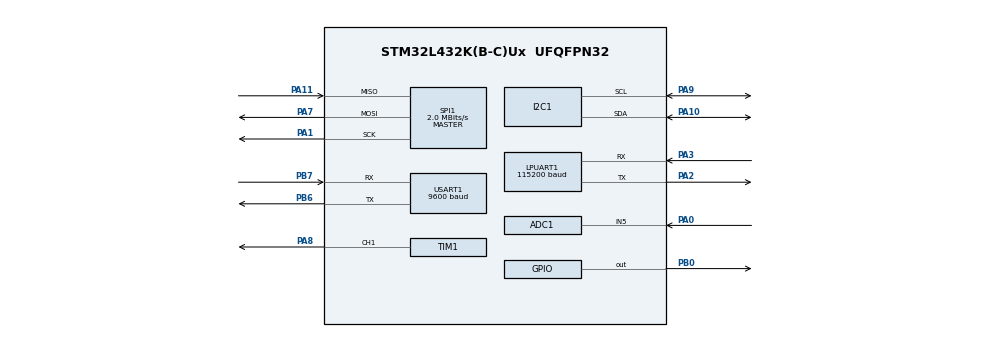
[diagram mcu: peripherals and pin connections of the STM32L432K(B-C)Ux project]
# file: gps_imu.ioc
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ADC1.Channel-0\#ChannelRegularConversion=ADC_CHANNEL_5
ADC1.ClockPrescaler=ADC_CLOCK_ASYNC_DIV1
ADC1.NbrOfConversionFlag=1
ADC1.OffsetNumber-0\#ChannelRegularConversion=ADC_OFFSET_NONE
ADC1.Rank-0\#ChannelRegularConversion=1
ADC1.SamplingTime-0\#ChannelRegularConversion=ADC_SAMPLETIME_640CYCLES_5
ADC1.master=1
LPUART1.BaudRate=115200
LPUART1.WordLength=UART_WORDLENGTH_8B
Mcu.Family=STM32L4
Mcu.Name=STM32L432K(B-C)Ux
Mcu.Package=UFQFPN32
NVIC.PriorityGroup=NVIC_PRIORITYGROUP_4
NVIC.TIM6_DAC_IRQn=true\:1\:0\:true\:false\:true\:true\:true\:true
NVIC.TIM7_IRQn=true\:0\:0\:false\:false\:true\:true\:true\:true
NVIC.USART1_IRQn=true\:0\:0\:false\:false\:true\:true\:true\:true
PA0.Signal=ADCx_IN5
PA1.Mode=Full_Duplex_Master
PA1.Signal=SPI1_SCK
PA10.Mode=I2C
PA10.Signal=I2C1_SDA
PA11.Mode=Full_Duplex_Master
PA11.Signal=SPI1_MISO
PA2.Mode=Asynchronous
PA2.Signal=LPUART1_TX
PA3.Mode=Asynchronous
PA3.Signal=LPUART1_RX
PA7.Mode=Full_Duplex_Master
PA7.Signal=SPI1_MOSI
PA8.Signal=S_TIM1_CH1
PA9.Mode=I2C
PA9.Signal=I2C1_SCL
PB0.Signal=GPIO_Output
PB6.Mode=Asynchronous
PB6.Signal=USART1_TX
PB7.Mode=Asynchronous
PB7.Signal=USART1_RX
ProjectManager.HeapSize=0x200
ProjectManager.StackSize=0x400
ProjectManager.TargetToolchain=STM32CubeIDE
RCC.ADCFreq_Value=32000000
RCC.HSE_VALUE=8000000
RCC.HSI48_VALUE=48000000
RCC.HSI_VALUE=16000000
RCC.LSE_VALUE=32768
RCC.MSI_VALUE=4000000
RCC.PLLSAI1N=16
RCC.USBFreq_Value=32000000
RCC.VCOOutputFreq_Value=32000000
SH.ADCx_IN5.0=ADC1_IN5,IN5-Single-Ended
SH.S_TIM1_CH1.0=TIM1_CH1,PWM Generation1 CH1
SPI1.BaudRatePrescaler=SPI_BAUDRATEPRESCALER_2
SPI1.CalculateBaudRate=2.0 MBits/s
SPI1.DataSize=SPI_DATASIZE_8BIT
SPI1.Direction=SPI_DIRECTION_2LINES
SPI1.Mode=SPI_MODE_MASTER
SPI1.VirtualType=VM_MASTER
TIM1.Channel-PWM\ Generation1\ CH1=TIM_CHANNEL_1
TIM1.Prescaler=0
TIM6.Period=499
TIM6.Prescaler=39
TIM7.Period=50000
TIM7.Prescaler=399
USART1.BaudRate=9600
USART1.VirtualMode-Asynchronous=VM_ASYNC
VP_TIM1_VS_ClockSourceINT.Mode=Internal
VP_TIM6_VS_ClockSourceINT.Mode=Enable_Timer
VP_TIM7_VS_ClockSourceINT.Mode=Enable_Timer
board=custom

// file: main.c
/* USER CODE BEGIN Header */
/**
  ******************************************************************************
  * @file           : main.c
  * @brief          : Main program body
  ******************************************************************************
  * @attention
  *
  * Copyright (c) 2024 STMicroelectronics.
  * All rights reserved.
  *
  * This software is licensed under terms that can be found in the LICENSE file
  * in the root directory of this software component.
  * If no LICENSE file comes with this software, it is provided AS-IS.
  *
  ******************************************************************************
  */
/* USER CODE END Header */
#include "main.h"

/* USER CODE BEGIN Includes */
#include "stdio.h"
#include "stdio.h"
#include "math.h"
#include "kalman.h"
#include "gps.h"
#include "string.h"
#include "stdlib.h"
#include "PulseSensor.h"
#include "lora_sx1276.h"
/* USER CODE END Includes */

ADC_HandleTypeDef hadc1;

I2C_HandleTypeDef hi2c1;

UART_HandleTypeDef hlpuart1;
UART_HandleTypeDef huart1;

SPI_HandleTypeDef hspi1;

TIM_HandleTypeDef htim1;
TIM_HandleTypeDef htim6;
TIM_HandleTypeDef htim7;

void SystemClock_Config(void);
static void MX_GPIO_Init(void);
static void MX_I2C1_Init(void);
static void MX_LPUART1_UART_Init(void);
static void MX_USART1_UART_Init(void);
static void MX_TIM6_Init(void);
static void MX_TIM7_Init(void);
static void MX_TIM1_Init(void);
static void MX_ADC1_Init(void);
static void MX_SPI1_Init(void);

/* USER CODE BEGIN 0 */
#define PI 3.14159265358979323846
uint8_t a[10] = {0};
struct Kalman kx;
struct Kalman ky;
struct Kalman kz;
double inst_velx = 0;
double inst_vely = 0;
double inst_velz = 0;
double x, y, z;

int imu_timer = 0;
int gps_timer = 0;
int pulse_timer = 0;

void HAL_UART_RxCpltCallback(UART_HandleTypeDef *huart)
{
	//gps_timer = 1;
//	if(a[0] == 10){
//		printf("\n");
//	}
//	else
//		printf("%c", a[0]);
	//HAL_UART_Receive_IT(&huart1, a, 1);

}

void HAL_TIM_PeriodElapsedCallback(TIM_HandleTypeDef* htim){
	if(htim == &htim7){
		gps_timer = 1;
//		int counter = 0;
//		while(1){
//
//			HAL_UART_Receive(&huart1, a, 1, 1);
//			if(a[0] == '$'){
//				printf("%c", a[0]);
//				while (a[0] != 10){
//					HAL_UART_Receive(&huart1, a, 1, 100);
//					printf("%c", a[0]);
//				}
//				counter++;
//			}
//			if(counter == 6){
//				printf("\n");
//				break;
//			}
//		}
	}
	else if (htim == &htim6){
		//do imu
//		x = (double)x_lin_acc_raw(&hi2c1)/20000;
//		y = (double)y_lin_acc_raw(&hi2c1)/100;
//		z = (double)z_lin_acc_raw(&hi2c1)/100;
		imu_timer = 1;
		pulse_timer = 1;

	}

	//HAL_UART_Receive_IT(&huart1, a, 1);
	//HAL_UART_Receive(&huart1, a, 1, 1000);
	//
	//	  printf("%c\n", a[0]);
}
/* USER CODE END 0 */

int main(void)
{

  /* MCU Configuration--------------------------------------------------------*/

  /* Reset of all peripherals, Initializes the Flash interface and the Systick. */
  HAL_Init();

  /* Configure the system clock */
  SystemClock_Config();

  /* Initialize all configured peripherals */
  MX_GPIO_Init();
  MX_I2C1_Init();
  MX_LPUART1_UART_Init();
  MX_USART1_UART_Init();
  MX_TIM6_Init();
  MX_TIM7_Init();
  MX_TIM1_Init();
  MX_ADC1_Init();
  MX_SPI1_Init();
  /* USER CODE BEGIN 2 */

  init_IMU(&hi2c1);
  initPulseSensor(&hadc1);

  /* USER CODE END 2 */

  /* Infinite loop */
  /* USER CODE BEGIN WHILE */
  //HAL_TIM_Base_Start_IT(&htim7);
  HAL_TIM_Base_Start_IT(&htim6);
  //HAL_UART_Receive_IT(&huart1, a, 1);
  HAL_TIM_PWM_Start(&htim1, TIM_CHANNEL_1);

	//double x, y, z, a, b, c;
	double vector; //acc vector
	double velocity;//vel vector
//	double inst_velx = 0;
//	double inst_vely = 0;
//	double inst_velz = 0;

	kx._current_estimate = 0;
	kx._last_estimate = 0;
	kx._kalman_gain = 0;
	ky._current_estimate = 0;
	ky._last_estimate = 0;
	ky._kalman_gain = 0;
	kz._current_estimate = 0;
	kz._last_estimate = 0;
	kz._kalman_gain = 0;

	kx._err_estimate = .1;
	kx._err_measure = .1;
	kx._q = .01;
	ky._err_estimate = .1;
	ky._err_measure = .1;
	ky._q = .01;
	kz._err_estimate = .1;
	kz._err_measure = .1;
	kz._q = .01;
//	SimpleKalmanFilter(.1, .1, 5, kx);
//	SimpleKalmanFilter(.1, .1, .1, ky);
//	SimpleKalmanFilter(.1, .1, .1, kz);

	//int counter = 0;
	double updatex = 0;
	double updatey = 0;
	double updatez = 0;
	uint8_t gps_buf[128];
	uint8_t gps_idx = 0;
	GPS_t GPS2;
	GPS2.nmea_latitude = 0;
	GPS2.nmea_longitude = 0;
	GPS2.speed_k = 0;
	GPS2.utc_time = 0;
	double p2p_dist = 0;
	double total_dist = 0;
	double x_cord = 0;
	double y_cord = 0;
	char temp[7];
	int fake_velocity = 0;
	int bpm = 0;
	int imu_ctr = 0;// 1000 means 5s and then reset vel;
	lora_sx1276 lora;

	uint8_t res = lora_init(&lora, &hspi1, GPIOB, GPIO_PIN_0, LORA_BASE_FREQUENCY_US+FREQ_OFFSET);
	if (res != LORA_OK) {
		printf("epic fail!");
		// Initialization failed
	 }
  while (1)
  {
	  ////////////////////////////////
	  //							//
	  // begin vibration simulation //
	  //							//
	  ////////////////////////////////
	  switch(fake_velocity){
	  	  case 0: {
			  TIM1->CCR1 = 0;//0
			  break;
		  }
	  	  case 1: {
	  		  TIM1->CCR1 = 16384;//25
	  		  break;
	  	  }
	  	  case 2: {
	  		  TIM1->CCR1 = 32768;//50
	  		  break;
	  	  }
	  	  case 3: {
	  		  TIM1->CCR1 = 49152;//75
	  		  break;
	  	  }
	  	  default: {
	  		  TIM1->CCR1 = 0;//off?
	  	  }
	  }
	  ////////////////////////////////
	  //							//
	  // end vibration simulation   //
	  //							//
	  ////////////////////////////////

	  //printf("x:%-10f y:%-10f z:%-10f\r\n", x, y, z);

	  ////////////////////////////////////////////
	  // begin gps data fetch       			//
	  //										//
	  //also does the velocity calc and stuff 	//
	  ////////////////////////////////////////////
	  if (gps_timer){
		  imu_ctr = 1;
		  int counter = 0;
		  int counter2 = 0;
		  while(1){
			  HAL_UART_Receive(&huart1, a, 1, 5000);
			  if(a[0] == '$'){
				  gps_buf[gps_idx++] = a[0];
				  //printf("%c", a[0]);
				  while (a[0] != 10){
					  HAL_UART_Receive(&huart1, a, 1, 5000);
					  gps_buf[gps_idx++] = a[0];
					  //printf("%c", a[0]);
				  }
				  for (int i = 0; i < 7; ++i){
					  temp[i] = gps_buf[i];
				  }
				  temp[6] = '\0';
				  for (int i = 0; i < 128; ++i){
					  //printf("%c", gps_buf[i]);////////
				  }

				  //printf("done\n");
				  counter++;
				  gps_idx = 0;

				  if (!strncmp((char*)temp, "$GPGGA", 6)){
					  char lat[9];
					  char lat_ns;
					  char lon[9];
					  char lon_ew;

					  for (int i = 18; i < 27; i++){
						  lat[i-18] = gps_buf[i];

					  }
					  lat_ns = gps_buf[28];
					  for (int i = 30; i < 40; i++){
						  lon[i-30] = gps_buf[i];
					  }
					  lon_ew = gps_buf[41];
					  for (int i = 0; i < 128; ++i){
						  gps_buf[i] = 0;
					  }
					  GPS2.dec_latitude = GPS_nmea_to_dec(strtof(lat, NULL), lat_ns)*(PI/180);
					  GPS2.dec_longitude = GPS_nmea_to_dec(strtof(lon, NULL), lon_ew)*(PI/180);

				  }
				  else if (!strncmp((char*)temp, "$GPRMC", 6)){
					//sscanf((char*)gps_buf, "$GPRMC,%f,%f,%c,%f,%c,%f,%f,%d", &GPS2.utc_time, &GPS2.nmea_latitude, &GPS2.ns, &GPS2.nmea_longitude, &GPS2.ew, &GPS2.speed_k, &GPS2.course_d, &GPS2.date);
					  GPS2.speed_k++;
				  }
				  for (int i = 0; i < 128; ++i){
					  gps_buf[i] = 0;
				  }
			  }

			  if(counter == 6){

//				  printf("\n");
//				  printf("long: %f, longdec: %f\n\r", GPS2.nmea_latitude, GPS2.dec_longitude);
//				  printf("lat: %f, latdec: %f\n\r", GPS2.nmea_longitude, GPS2.dec_latitude);
//				  printf("speed: %f\n\r", GPS2.speed_k);
//				  printf("date: %f\n\r", GPS2.utc_time);

				  if(counter2 == 1){
					  gps_timer = 0;
					  x_cord = (double)(GPS2.dec_longitude - GPS2.dec_longitude_prev)*
							  (cos(((double)GPS2.dec_longitude+(double)GPS2.dec_longitude_prev)/2));
					  y_cord = (double)(GPS2.dec_latitude - GPS2.dec_latitude_prev);
					  p2p_dist = sqrt(x_cord*x_cord + y_cord*y_cord)*6371000;
					  velocity = p2p_dist/5;// m/s, timer is set for 5 sec
					  //printf("p2p: %f\nmeter/sec: %f\n\r", p2p_dist,velocity);
					  //printf("Minute Per Mile: %f\n\r", .08333/(p2p_dist/1609.3));
					  GPS2.dec_latitude_prev = GPS2.dec_latitude;
					  GPS2.dec_longitude_prev = GPS2.dec_longitude;

					  fake_velocity = (fake_velocity+1)%4;
					  break;
				  }
				  counter2++;
				  counter = 0;

			  }
		  }

	  }
	  ////////////////////////////////
	  //							//
	  // end gps data fetch         //
	  //							//
	  ////////////////////////////////

	  ////////////////////////////////
	  //							//
	  // begin imu stuff	        //
	  //							//
	  ////////////////////////////////
	  if (imu_timer){
		  x = (double)x_lin_acc_raw(&hi2c1)/100;
		  y = (double)y_lin_acc_raw(&hi2c1)/100;
		  z = (double)z_lin_acc_raw(&hi2c1)/100;
		  //20000 is 100 from imu, plus 200 for the time frame
		  //printf("x: %f y: %f, z: %f\n\r", x, y, z);
		  if((x>-.1)&&(x<.1)|(x>50) | (x<-50)){
			  x = 0;
		  }
		  if((y>-.1)&&(y<.1)|(y>50) | (y<-50)){
			  y = 0;
		  }
		  if((z>-.45)&&(z<.45)|(z>50) | (z<-50)){
			  z = 0;
		  }

	//	  updatex += x;
	//	  updatey += y;
	//	  updatez += z;
	//	  if (counter == 100){
	//		  updatex = 0;
	//		  updatey = 0;
	//		  updatez = 0;
	//		  counter = 0;
	//	  }
//		  updatex = updateEstimate(x, kx);//x;
//		  updatey = updateEstimate(y, ky);
//		  updatez = updateEstimate(z, kz);
//
		  updatex = inst_velx;
		  updatey = inst_vely;
		  updatez = inst_velz;
		  inst_velx += x;
		  inst_vely += y;
		  inst_velz += z;

//		  inst_velx = updateEstimate(inst_velx, &kx);
//		  inst_vely = updateEstimate(inst_vely, &ky);
//		  inst_velz = updateEstimate(inst_velz, &kz);
//		  imu_timer = 0;
		  //printf("x_velocity:%-10f y_velocity:%-10f z_velocity:%-10f\r\n", inst_velx, inst_vely, inst_velz);

		  if(imu_ctr == 1){
			  imu_ctr = 0;
			  inst_velx = 0;
			  inst_vely = 0;
			  inst_velz = 0;
		  }
	  }
	  ////////////////////////////////
	  //							//
	  // end imu stuff	        	//
	  //							//
	  ////////////////////////////////

	  ////////////////////////////////
	  //							//
	  // begin pulse stuff	        //
	  //							//
	  ////////////////////////////////

	  if(pulse_timer){//goes off every imu timer (tim6)
		  updatePulseSensor();
		  bpm = get_BPM();
		  //printf("BPM: %d\n\r", bpm);
		  pulse_timer = 0;
	  }

	  ////////////////////////////////
	  //							//
	  // end pulse stuff	        //
	  //							//
	  ////////////////////////////////

	  //printf("x_velocity:%-10f y_velocity:%-10f z_velocity:%-10f\r\n", inst_velx, inst_vely, inst_velz);

    /* USER CODE END WHILE */

  }
}

void SystemClock_Config(void)
{
  RCC_OscInitTypeDef RCC_OscInitStruct = {0};
  RCC_ClkInitTypeDef RCC_ClkInitStruct = {0};

  /** Configure the main internal regulator output voltage
  */
  if (HAL_PWREx_ControlVoltageScaling(PWR_REGULATOR_VOLTAGE_SCALE1) != HAL_OK)
  {
    Error_Handler();
  }

  /** Initializes the RCC Oscillators according to the specified parameters
  * in the RCC_OscInitTypeDef structure.
  */
  RCC_OscInitStruct.OscillatorType = RCC_OSCILLATORTYPE_MSI;
  RCC_OscInitStruct.MSIState = RCC_MSI_ON;
  RCC_OscInitStruct.MSICalibrationValue = 0;
  RCC_OscInitStruct.MSIClockRange = RCC_MSIRANGE_6;
  RCC_OscInitStruct.PLL.PLLState = RCC_PLL_NONE;
  if (HAL_RCC_OscConfig(&RCC_OscInitStruct) != HAL_OK)
  {
    Error_Handler();
  }

  /** Initializes the CPU, AHB and APB buses clocks
  */
  RCC_ClkInitStruct.ClockType = RCC_CLOCKTYPE_HCLK|RCC_CLOCKTYPE_SYSCLK
                              |RCC_CLOCKTYPE_PCLK1|RCC_CLOCKTYPE_PCLK2;
  RCC_ClkInitStruct.SYSCLKSource = RCC_SYSCLKSOURCE_MSI;
  RCC_ClkInitStruct.AHBCLKDivider = RCC_SYSCLK_DIV1;
  RCC_ClkInitStruct.APB1CLKDivider = RCC_HCLK_DIV1;
  RCC_ClkInitStruct.APB2CLKDivider = RCC_HCLK_DIV1;

  if (HAL_RCC_ClockConfig(&RCC_ClkInitStruct, FLASH_LATENCY_0) != HAL_OK)
  {
    Error_Handler();
  }
}

static void MX_ADC1_Init(void)
{

  ADC_ChannelConfTypeDef sConfig = {0};

  /** Common config
  */
  hadc1.Instance = ADC1;
  hadc1.Init.ClockPrescaler = ADC_CLOCK_ASYNC_DIV1;
  hadc1.Init.Resolution = ADC_RESOLUTION_12B;
  hadc1.Init.DataAlign = ADC_DATAALIGN_RIGHT;
  hadc1.Init.ScanConvMode = ADC_SCAN_DISABLE;
  hadc1.Init.EOCSelection = ADC_EOC_SINGLE_CONV;
  hadc1.Init.LowPowerAutoWait = DISABLE;
  hadc1.Init.ContinuousConvMode = DISABLE;
  hadc1.Init.NbrOfConversion = 1;
  hadc1.Init.DiscontinuousConvMode = DISABLE;
  hadc1.Init.ExternalTrigConv = ADC_SOFTWARE_START;
  hadc1.Init.ExternalTrigConvEdge = ADC_EXTERNALTRIGCONVEDGE_NONE;
  hadc1.Init.DMAContinuousRequests = DISABLE;
  hadc1.Init.Overrun = ADC_OVR_DATA_PRESERVED;
  hadc1.Init.OversamplingMode = DISABLE;
  if (HAL_ADC_Init(&hadc1) != HAL_OK)
  {
    Error_Handler();
  }

  /** Configure Regular Channel
  */
  sConfig.Channel = ADC_CHANNEL_5;
  sConfig.Rank = ADC_REGULAR_RANK_1;
  sConfig.SamplingTime = ADC_SAMPLETIME_640CYCLES_5;
  sConfig.SingleDiff = ADC_SINGLE_ENDED;
  sConfig.OffsetNumber = ADC_OFFSET_NONE;
  sConfig.Offset = 0;
  if (HAL_ADC_ConfigChannel(&hadc1, &sConfig) != HAL_OK)
  {
    Error_Handler();
  }

}

static void MX_I2C1_Init(void)
{

  hi2c1.Instance = I2C1;
  hi2c1.Init.Timing = 0x00000E14;
  hi2c1.Init.OwnAddress1 = 0;
  hi2c1.Init.AddressingMode = I2C_ADDRESSINGMODE_7BIT;
  hi2c1.Init.DualAddressMode = I2C_DUALADDRESS_DISABLE;
  hi2c1.Init.OwnAddress2 = 0;
  hi2c1.Init.OwnAddress2Masks = I2C_OA2_NOMASK;
  hi2c1.Init.GeneralCallMode = I2C_GENERALCALL_DISABLE;
  hi2c1.Init.NoStretchMode = I2C_NOSTRETCH_DISABLE;
  if (HAL_I2C_Init(&hi2c1) != HAL_OK)
  {
    Error_Handler();
  }

  /** Configure Analogue filter
  */
  if (HAL_I2CEx_ConfigAnalogFilter(&hi2c1, I2C_ANALOGFILTER_ENABLE) != HAL_OK)
  {
    Error_Handler();
  }

  /** Configure Digital filter
  */
  if (HAL_I2CEx_ConfigDigitalFilter(&hi2c1, 0) != HAL_OK)
  {
    Error_Handler();
  }

}

static void MX_LPUART1_UART_Init(void)
{

  hlpuart1.Instance = LPUART1;
  hlpuart1.Init.BaudRate = 115200;
  hlpuart1.Init.WordLength = UART_WORDLENGTH_8B;
  hlpuart1.Init.StopBits = UART_STOPBITS_1;
  hlpuart1.Init.Parity = UART_PARITY_NONE;
  hlpuart1.Init.Mode = UART_MODE_TX_RX;
  hlpuart1.Init.HwFlowCtl = UART_HWCONTROL_NONE;
  hlpuart1.Init.OneBitSampling = UART_ONE_BIT_SAMPLE_DISABLE;
  hlpuart1.AdvancedInit.AdvFeatureInit = UART_ADVFEATURE_NO_INIT;
  if (HAL_UART_Init(&hlpuart1) != HAL_OK)
  {
    Error_Handler();
  }

}

static void MX_USART1_UART_Init(void)
{

  huart1.Instance = USART1;
  huart1.Init.BaudRate = 9600;
  huart1.Init.WordLength = UART_WORDLENGTH_8B;
  huart1.Init.StopBits = UART_STOPBITS_1;
  huart1.Init.Parity = UART_PARITY_NONE;
  huart1.Init.Mode = UART_MODE_TX_RX;
  huart1.Init.HwFlowCtl = UART_HWCONTROL_NONE;
  huart1.Init.OverSampling = UART_OVERSAMPLING_16;
  huart1.Init.OneBitSampling = UART_ONE_BIT_SAMPLE_DISABLE;
  huart1.AdvancedInit.AdvFeatureInit = UART_ADVFEATURE_NO_INIT;
  if (HAL_UART_Init(&huart1) != HAL_OK)
  {
    Error_Handler();
  }

}

static void MX_SPI1_Init(void)
{

  /* SPI1 parameter configuration*/
  hspi1.Instance = SPI1;
  hspi1.Init.Mode = SPI_MODE_MASTER;
  hspi1.Init.Direction = SPI_DIRECTION_2LINES;
  hspi1.Init.DataSize = SPI_DATASIZE_8BIT;
  hspi1.Init.CLKPolarity = SPI_POLARITY_LOW;
  hspi1.Init.CLKPhase = SPI_PHASE_1EDGE;
  hspi1.Init.NSS = SPI_NSS_SOFT;
  hspi1.Init.BaudRatePrescaler = SPI_BAUDRATEPRESCALER_2;
  hspi1.Init.FirstBit = SPI_FIRSTBIT_MSB;
  hspi1.Init.TIMode = SPI_TIMODE_DISABLE;
  hspi1.Init.CRCCalculation = SPI_CRCCALCULATION_DISABLE;
  hspi1.Init.CRCPolynomial = 7;
  hspi1.Init.CRCLength = SPI_CRC_LENGTH_DATASIZE;
  hspi1.Init.NSSPMode = SPI_NSS_PULSE_ENABLE;
  if (HAL_SPI_Init(&hspi1) != HAL_OK)
  {
    Error_Handler();
  }

}

static void MX_TIM1_Init(void)
{

  TIM_ClockConfigTypeDef sClockSourceConfig = {0};
  TIM_MasterConfigTypeDef sMasterConfig = {0};
  TIM_OC_InitTypeDef sConfigOC = {0};
  TIM_BreakDeadTimeConfigTypeDef sBreakDeadTimeConfig = {0};

  htim1.Instance = TIM1;
  htim1.Init.Prescaler = 0;
  htim1.Init.CounterMode = TIM_COUNTERMODE_UP;
  htim1.Init.Period = 65535;
  htim1.Init.ClockDivision = TIM_CLOCKDIVISION_DIV1;
  htim1.Init.RepetitionCounter = 0;
  htim1.Init.AutoReloadPreload = TIM_AUTORELOAD_PRELOAD_DISABLE;
  if (HAL_TIM_Base_Init(&htim1) != HAL_OK)
  {
    Error_Handler();
  }
  sClockSourceConfig.ClockSource = TIM_CLOCKSOURCE_INTERNAL;
  if (HAL_TIM_ConfigClockSource(&htim1, &sClockSourceConfig) != HAL_OK)
  {
    Error_Handler();
  }
  if (HAL_TIM_PWM_Init(&htim1) != HAL_OK)
  {
    Error_Handler();
  }
  sMasterConfig.MasterOutputTrigger = TIM_TRGO_RESET;
  sMasterConfig.MasterOutputTrigger2 = TIM_TRGO2_RESET;
  sMasterConfig.MasterSlaveMode = TIM_MASTERSLAVEMODE_DISABLE;
  if (HAL_TIMEx_MasterConfigSynchronization(&htim1, &sMasterConfig) != HAL_OK)
  {
    Error_Handler();
  }
  sConfigOC.OCMode = TIM_OCMODE_PWM1;
  sConfigOC.Pulse = 0;
  sConfigOC.OCPolarity = TIM_OCPOLARITY_HIGH;
  sConfigOC.OCNPolarity = TIM_OCNPOLARITY_HIGH;
  sConfigOC.OCFastMode = TIM_OCFAST_DISABLE;
  sConfigOC.OCIdleState = TIM_OCIDLESTATE_RESET;
  sConfigOC.OCNIdleState = TIM_OCNIDLESTATE_RESET;
  if (HAL_TIM_PWM_ConfigChannel(&htim1, &sConfigOC, TIM_CHANNEL_1) != HAL_OK)
  {
    Error_Handler();
  }
  sBreakDeadTimeConfig.OffStateRunMode = TIM_OSSR_DISABLE;
  sBreakDeadTimeConfig.OffStateIDLEMode = TIM_OSSI_DISABLE;
  sBreakDeadTimeConfig.LockLevel = TIM_LOCKLEVEL_OFF;
  sBreakDeadTimeConfig.DeadTime = 0;
  sBreakDeadTimeConfig.BreakState = TIM_BREAK_DISABLE;
  sBreakDeadTimeConfig.BreakPolarity = TIM_BREAKPOLARITY_HIGH;
  sBreakDeadTimeConfig.BreakFilter = 0;
  sBreakDeadTimeConfig.Break2State = TIM_BREAK2_DISABLE;
  sBreakDeadTimeConfig.Break2Polarity = TIM_BREAK2POLARITY_HIGH;
  sBreakDeadTimeConfig.Break2Filter = 0;
  sBreakDeadTimeConfig.AutomaticOutput = TIM_AUTOMATICOUTPUT_DISABLE;
  if (HAL_TIMEx_ConfigBreakDeadTime(&htim1, &sBreakDeadTimeConfig) != HAL_OK)
  {
    Error_Handler();
  }
  HAL_TIM_MspPostInit(&htim1);

}

static void MX_TIM6_Init(void)
{

  TIM_MasterConfigTypeDef sMasterConfig = {0};

  htim6.Instance = TIM6;
  htim6.Init.Prescaler = 39;
  htim6.Init.CounterMode = TIM_COUNTERMODE_UP;
  htim6.Init.Period = 499;
  htim6.Init.AutoReloadPreload = TIM_AUTORELOAD_PRELOAD_DISABLE;
  if (HAL_TIM_Base_Init(&htim6) != HAL_OK)
  {
    Error_Handler();
  }
  sMasterConfig.MasterOutputTrigger = TIM_TRGO_RESET;
  sMasterConfig.MasterSlaveMode = TIM_MASTERSLAVEMODE_DISABLE;
  if (HAL_TIMEx_MasterConfigSynchronization(&htim6, &sMasterConfig) != HAL_OK)
  {
    Error_Handler();
  }

}

static void MX_TIM7_Init(void)
{

  TIM_MasterConfigTypeDef sMasterConfig = {0};

  htim7.Instance = TIM7;
  htim7.Init.Prescaler = 399;
  htim7.Init.CounterMode = TIM_COUNTERMODE_UP;
  htim7.Init.Period = 50000;
  htim7.Init.AutoReloadPreload = TIM_AUTORELOAD_PRELOAD_DISABLE;
  if (HAL_TIM_Base_Init(&htim7) != HAL_OK)
  {
    Error_Handler();
  }
  sMasterConfig.MasterOutputTrigger = TIM_TRGO_RESET;
  sMasterConfig.MasterSlaveMode = TIM_MASTERSLAVEMODE_DISABLE;
  if (HAL_TIMEx_MasterConfigSynchronization(&htim7, &sMasterConfig) != HAL_OK)
  {
    Error_Handler();
  }

}

static void MX_GPIO_Init(void)
{
  GPIO_InitTypeDef GPIO_InitStruct = {0};

  /* GPIO Ports Clock Enable */
  __HAL_RCC_GPIOA_CLK_ENABLE();
  __HAL_RCC_GPIOB_CLK_ENABLE();

  /*Configure GPIO pin Output Level */
  HAL_GPIO_WritePin(GPIOB, GPIO_PIN_0, GPIO_PIN_RESET);

  /*Configure GPIO pin : PB0 */
  GPIO_InitStruct.Pin = GPIO_PIN_0;
  GPIO_InitStruct.Mode = GPIO_MODE_OUTPUT_PP;
  GPIO_InitStruct.Pull = GPIO_NOPULL;
  GPIO_InitStruct.Speed = GPIO_SPEED_FREQ_LOW;
  HAL_GPIO_Init(GPIOB, &GPIO_InitStruct);

}

/* USER CODE BEGIN 4 */
#ifdef __GNUC__
#define PUTCHAR_PROTOTYPE int __io_putchar(int ch)
#else
  #define PUTCHAR_PROTOTYPE int fputc(int ch, FILE *f)
#endif /* __GNUC__ */
PUTCHAR_PROTOTYPE
{
  HAL_UART_Transmit(&hlpuart1, (uint8_t *)&ch, 1, 0xFFFF);
  return ch;
}
/* USER CODE END 4 */

void Error_Handler(void)
{
  __disable_irq();
  while (1)
  {
  }
}
